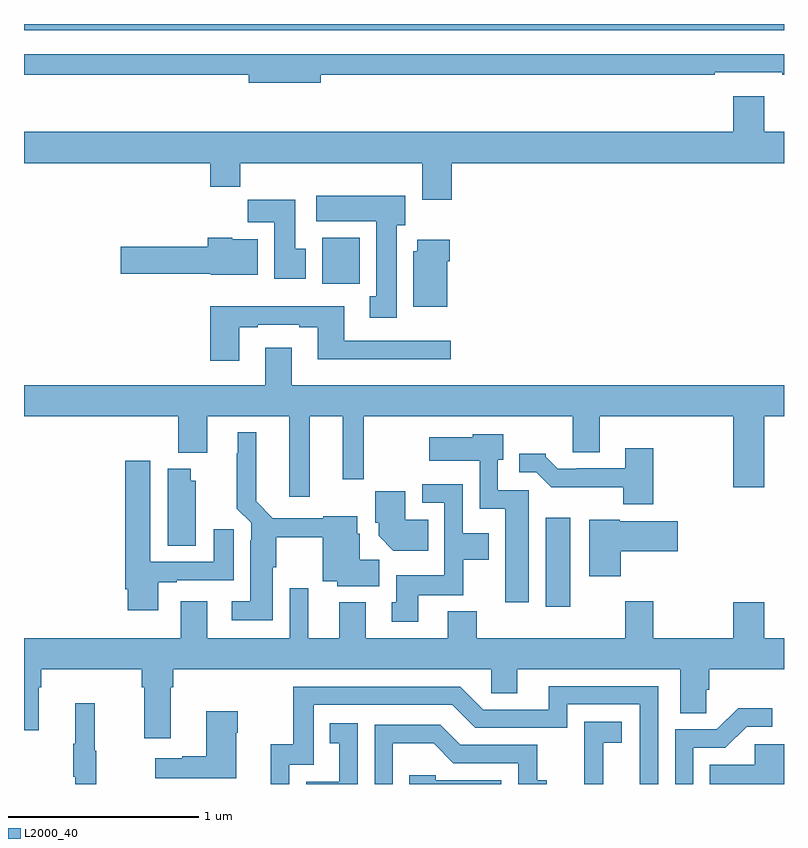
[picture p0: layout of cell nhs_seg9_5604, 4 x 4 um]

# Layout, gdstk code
import gdstk
lib = gdstk.Library(unit=1e-6, precision=1e-09)
def R(c, l, rs):  # rectangles x0, y0, x1, y1
    for r in rs: c.add(gdstk.rectangle(r[:2], r[2:], *l))
def P(c, l, *ps):  # polygons
    for p in ps: c.add(gdstk.Polygon(p, *l))
L2000_40 = (2000, 40)

nhs_seg9_5604 = lib.new_cell('nhs_seg9_5604')
R(nhs_seg9_5604, L2000_40, [(439.745,1179.432,439.876,1179.901), (438.569,1181.132,438.766,1181.374), (437,1182.468,441,1182.5)])
P(nhs_seg9_5604, L2000_40, [(438.562,1182.234),(440.636,1182.234),(440.636,1182.246),(440.992,1182.246),(440.992,1182.234),(441,1182.234),(441,1182.342),(437,1182.342),(437,1182.234),(438.182,1182.234),(438.182,1182.191),(438.562,1182.191)],
  [(439.25,1181.768),(441,1181.768),(441,1181.932),(440.896,1181.932),(440.896,1182.121),(440.732,1182.121),(440.732,1181.932),(437,1181.932),(437,1181.768),(437.981,1181.768),(437.981,1181.644),(438.137,1181.644),(438.137,1181.768),(439.097,1181.768),(439.097,1181.574),(439.25,1181.574)],
  [(438.961,1181.442),(439.006,1181.442),(439.006,1181.596),(438.537,1181.596),(438.537,1181.462),(438.854,1181.462),(438.854,1181.066),(438.821,1181.066),(438.821,1180.953),(438.961,1180.953)],
  [(438.484,1181.316),(438.427,1181.316),(438.427,1181.575),(438.178,1181.575),(438.178,1181.456),(438.317,1181.456),(438.317,1181.16),(438.484,1181.16)],
  [(438.229,1181.368),(438.096,1181.368),(438.096,1181.374),(437.966,1181.374),(437.966,1181.328),(437.508,1181.328),(437.508,1181.186),(437.982,1181.186),(437.982,1181.18),(438.229,1181.18)],
  [(439.228,1181.252),(439.241,1181.252),(439.241,1181.365),(439.07,1181.365),(439.07,1181.304),(439.049,1181.304),(439.049,1181.012),(439.228,1181.012)],
  [(438.133,1180.905),(438.229,1180.905),(438.229,1180.917),(438.449,1180.917),(438.449,1180.905),(438.545,1180.905),(438.545,1180.736),(439.246,1180.736),(439.246,1180.833),(438.685,1180.833),(438.685,1181.014),(437.981,1181.014),(437.981,1180.728),(438.133,1180.728)],
  [(437,1180.436),(437.813,1180.436),(437.813,1180.244),(437.965,1180.244),(437.965,1180.436),(438.395,1180.436),(438.395,1180.011),(438.505,1180.011),(438.505,1180.436),(438.677,1180.436),(438.677,1180.104),(438.787,1180.104),(438.787,1180.436),(439.889,1180.436),(439.889,1180.246),(440.029,1180.246),(440.029,1180.436),(440.732,1180.436),(440.732,1180.062),(440.896,1180.062),(440.896,1180.436),(441,1180.436),(441,1180.6),(438.409,1180.6),(438.409,1180.795),(438.269,1180.795),(438.269,1180.6),(437,1180.6)],
  [(438.31,1179.642),(438.328,1179.642),(438.328,1179.799),(438.573,1179.799),(438.573,1179.566),(438.648,1179.566),(438.648,1179.542),(438.871,1179.542),(438.871,1179.68),(438.766,1179.68),(438.766,1179.816),(438.754,1179.816),(438.754,1179.91),(438.576,1179.91),(438.576,1179.9),(438.31,1179.9),(438.223,1179.988),(438.223,1180.351),(438.125,1180.351),(438.125,1180.241),(438.121,1180.241),(438.121,1179.95),(438.195,1179.876),(438.195,1179.782),(438.191,1179.782),(438.191,1179.463),(438.093,1179.463),(438.093,1179.362),(438.31,1179.362)],
  [(439.657,1180.047),(439.494,1180.047),(439.494,1180.206),(439.522,1180.206),(439.522,1180.342),(439.362,1180.342),(439.362,1180.324),(439.134,1180.324),(439.134,1180.202),(439.398,1180.202),(439.398,1179.95),(439.532,1179.95),(439.532,1179.456),(439.657,1179.456)],
  [(440.313,1180.267),(440.165,1180.267),(440.165,1180.161),(439.909,1180.161),(439.909,1180.158),(439.81,1180.158),(439.746,1180.222),(439.746,1180.237),(439.607,1180.237),(439.607,1180.14),(439.695,1180.14),(439.774,1180.062),(440.153,1180.062),(440.153,1179.972),(440.313,1179.972)],
  [(437.707,1179.561),(437.803,1179.561),(437.803,1179.573),(438.103,1179.573),(438.103,1179.841),(437.999,1179.841),(437.999,1179.669),(437.665,1179.669),(437.665,1180.201),(437.534,1180.201),(437.534,1179.526),(437.546,1179.526),(437.546,1179.414),(437.707,1179.414)],
  [(437.905,1180.095),(437.878,1180.095),(437.878,1180.159),(437.756,1180.159),(437.756,1179.754),(437.905,1179.754)],
  [(439.075,1179.494),(439.311,1179.494),(439.311,1179.68),(439.447,1179.68),(439.447,1179.82),(439.308,1179.82),(439.308,1180.077),(439.095,1180.077),(439.095,1179.981),(439.212,1179.981),(439.212,1179.598),(438.959,1179.598),(438.959,1179.456),(438.935,1179.456),(438.935,1179.354),(439.075,1179.354)],
  [(439.127,1179.892),(439.006,1179.892),(439.006,1180.042),(438.848,1180.042),(438.848,1179.876),(438.866,1179.876),(438.866,1179.806),(438.944,1179.728),(439.127,1179.728)],
  [(440.14,1179.725),(440.44,1179.725),(440.44,1179.883),(440.136,1179.883),(440.136,1179.892),(439.976,1179.892),(439.976,1179.594),(440.14,1179.594)],
  [(437.773,1179.008),(437.786,1179.008),(437.786,1179.104),(439.458,1179.104),(439.458,1178.977),(439.597,1178.977),(439.597,1179.104),(440.453,1179.104),(440.453,1178.872),(440.592,1178.872),(440.592,1178.995),(440.606,1178.995),(440.606,1179.104),(441,1179.104),(441,1179.268),(440.896,1179.268),(440.896,1179.457),(440.732,1179.457),(440.732,1179.268),(440.313,1179.268),(440.313,1179.463),(440.165,1179.463),(440.165,1179.268),(439.382,1179.268),(439.382,1179.409),(439.229,1179.409),(439.229,1179.268),(438.799,1179.268),(438.799,1179.457),(438.659,1179.457),(438.659,1179.268),(438.496,1179.268),(438.496,1179.529),(438.399,1179.529),(438.399,1179.268),(437.965,1179.268),(437.965,1179.463),(437.825,1179.463),(437.825,1179.268),(437,1179.268),(437,1178.784),(437.077,1178.784),(437.077,1179.008),(437.09,1179.008),(437.09,1179.104),(437.621,1179.104),(437.621,1179.008),(437.633,1179.008),(437.633,1178.742),(437.773,1178.742)],
  [(438.396,1178.601),(438.525,1178.601),(438.525,1178.916),(439.254,1178.916),(439.374,1178.796),(439.86,1178.796),(439.86,1178.919),(440.241,1178.919),(440.241,1178.5),(440.337,1178.5),(440.337,1179.015),(439.763,1179.015),(439.763,1178.892),(439.416,1178.892),(439.296,1179.012),(438.417,1179.012),(438.417,1178.71),(438.299,1178.71),(438.299,1178.5),(438.396,1178.5)],
  [(437.38,1178.676),(437.372,1178.676),(437.372,1178.926),(437.27,1178.926),(437.27,1178.713),(437.259,1178.713),(437.259,1178.539),(437.27,1178.539),(437.27,1178.5),(437.38,1178.5)],
  [(440.523,1178.691),(440.692,1178.691),(440.803,1178.802),(440.938,1178.802),(440.938,1178.9),(440.759,1178.9),(440.646,1178.787),(440.427,1178.787),(440.427,1178.5),(440.523,1178.5)],
  [(438.118,1178.771),(438.126,1178.771),(438.126,1178.884),(437.96,1178.884),(437.96,1178.645),(437.834,1178.645),(437.834,1178.635),(437.691,1178.635),(437.691,1178.531),(438.118,1178.531)],
  [(440.048,1178.717),(440.146,1178.717),(440.146,1178.827),(439.948,1178.827),(439.948,1178.621),(439.949,1178.621),(439.949,1178.5),(440.048,1178.5)],
  [(438.756,1178.821),(438.61,1178.821),(438.61,1178.715),(438.659,1178.715),(438.659,1178.511),(438.486,1178.511),(438.486,1178.5),(438.756,1178.5)],
  [(438.942,1178.714),(439.156,1178.714),(439.26,1178.61),(439.602,1178.61),(439.602,1178.5),(439.75,1178.5),(439.75,1178.521),(439.701,1178.521),(439.701,1178.706),(439.297,1178.706),(439.192,1178.811),(438.846,1178.811),(438.846,1178.5),(438.942,1178.5)],
  [(441,1178.71),(440.847,1178.71),(440.847,1178.602),(440.608,1178.602),(440.608,1178.5),(441,1178.5)],
  [(439.512,1178.52),(439.167,1178.52),(439.167,1178.547),(439.027,1178.547),(439.027,1178.5),(439.512,1178.5)])

lib.write_gds('nhs_seg9_5604.gds')
